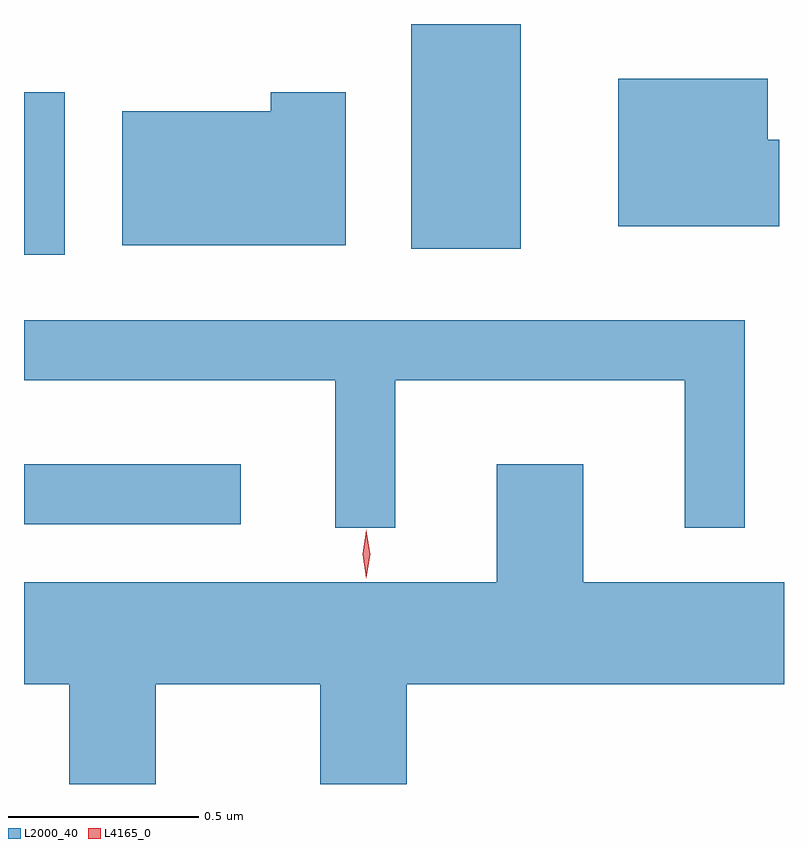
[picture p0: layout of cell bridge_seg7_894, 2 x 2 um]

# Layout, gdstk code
import gdstk
lib = gdstk.Library(unit=1e-6, precision=1e-09)
def R(c, l, rs):  # rectangles x0, y0, x1, y1
    for r in rs: c.add(gdstk.rectangle(r[:2], r[2:], *l))
def P(c, l, *ps):  # polygons
    for p in ps: c.add(gdstk.Polygon(p, *l))
L2000_40 = (2000, 40)
L4165_0 = (4165, 0)

bridge_seg7_894 = lib.new_cell('bridge_seg7_894')
R(bridge_seg7_894, L2000_40, [(375.967,1688.096,376.538,1688.254), (375.967,1688.806,376.074,1689.234), (376.986,1688.821,377.274,1689.413)])
P(bridge_seg7_894, L2000_40, [(377.954,1689.109),(377.924,1689.109),(377.924,1689.269),(377.531,1689.269),(377.531,1688.881),(377.954,1688.881)],
  [(376.814,1689.234),(376.616,1689.234),(376.616,1689.184),(376.226,1689.184),(376.226,1688.831),(376.814,1688.831)],
  [(376.944,1688.476),(377.706,1688.476),(377.706,1688.088),(377.864,1688.088),(377.864,1688.634),(375.967,1688.634),(375.967,1688.476),(376.786,1688.476),(376.786,1688.088),(376.944,1688.088)],
  [(376.314,1687.676),(376.746,1687.676),(376.746,1687.413),(376.974,1687.413),(376.974,1687.676),(377.967,1687.676),(377.967,1687.944),(377.439,1687.944),(377.439,1688.254),(377.211,1688.254),(377.211,1687.944),(375.967,1687.944),(375.967,1687.676),(376.086,1687.676),(376.086,1687.413),(376.314,1687.413)])
P(bridge_seg7_894, L4165_0, [(376.867,1687.955),(376.858,1688.018),(376.867,1688.081),(376.868,1688.082),(376.868,1688.081),(376.878,1688.018),(376.868,1687.955),(376.868,1687.955)])

lib.write_gds('bridge_seg7_894.gds')
